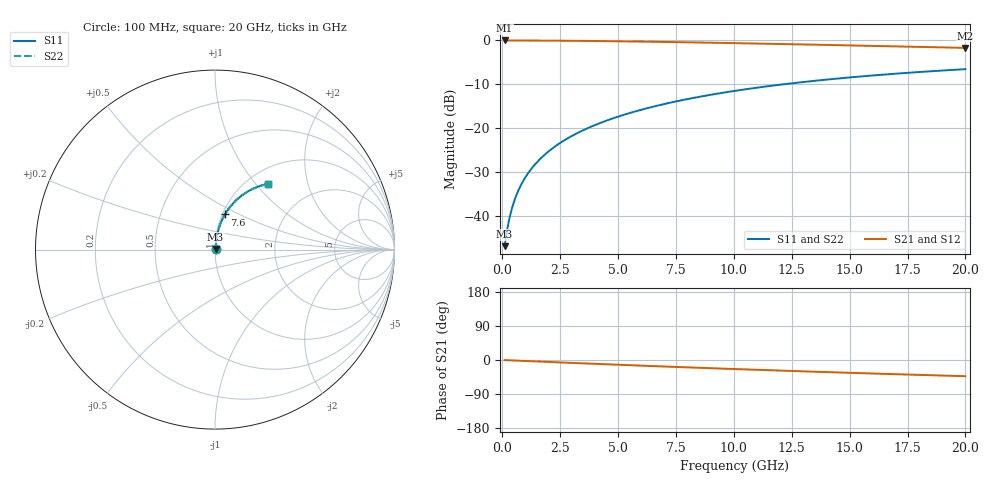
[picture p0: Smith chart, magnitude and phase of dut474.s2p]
! Touchstone file exported from HFSS 2024.1.0
!  File:  C:/UserFiles/LocalFiles/RDL_TSV_Batchsim/temp_RDL_top_474_1779678042.aedt
!  Generated:  11:03:12 AM May 25, 2026
!  Design:  RDL_top
!  Project:  temp_RDL_top_474_1779678042
!  Setup:  Setup1
!  Solution:  Sweep
! Variables:
!  dtsv = 10.80580581um
!  hbump = 3um
!  htsv = 55.26um
!  ldown = 100um
!  lrdl = 545.14um
!  p = 40
!  p1 = 56um
!  rhole = 1um
!  t = 450um
!  tdown = 3.915915916um
!  trdl = 3.78um
!  wdown = 15.38538539um
!  wrdl = 14.97um
# GHz S MA R 50.000000
! Terminal data exported
! Port[1] = Box2_T1
! Port[2] = Box2_T2
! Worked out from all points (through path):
!   200 points, 100 MHz to 20 GHz, reference 50 ohm
!   highest |S21| = -0.03 dB at 100 MHz (marker M1); lowest = -1.7 dB at 20 GHz (marker M2)
!   group delay of S21, straight-line fit = 5.92 ps
!   lowest |S11| = -46.9 dB at 100 MHz (marker M3), VSWR 1.01, Z = 50.4 + j0.284 ohm
!   |S11| at or under -10 dB: start of sweep to 12.18 GHz
!   |S22| runs from -46.9 to -6.6 dB; largest |S21 - S12| = 3.4e-15
!   S11 on the Smith chart (normalised r, x): 100 MHz: 1.01, +0.01; 7.6 GHz: 1.03, +0.42; 20 GHz: 1.23, +1.16
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0.1  0.004506 38.7  0.9965 -0.3  0.9965 -0.3  0.004506 38.7
! Gamma 0 0 0 0
! Port Impedance 50 0 50 0
0.2  0.006668 57.2  0.9964 -0.5  0.9964 -0.5  0.006668 57.2
0.3  0.009152 65.8  0.9962 -0.8  0.9962 -0.8  0.009152 65.8
0.4  0.01173 70.6  0.9961 -1.0  0.9961 -1.0  0.01173 70.6
0.5  0.01433 73.6  0.9959 -1.3  0.9959 -1.3  0.01433 73.6
0.6  0.01695 75.7  0.9958 -1.6  0.9958 -1.6  0.01695 75.7
0.8  0.02222 78.3  0.9954 -2.1  0.9954 -2.1  0.02222 78.3
1.1  0.03017 80.3  0.9948 -2.8  0.9948 -2.8  0.03017 80.3
1.5  0.04085 81.5  0.9938 -3.9  0.9938 -3.9  0.04085 81.5
1.8  0.04888 81.9  0.9929 -4.6  0.9929 -4.6  0.04888 81.9
2.1  0.05693 82.0  0.9919 -5.4  0.9919 -5.4  0.05693 82.0
2.7  0.07307 81.8  0.9894 -6.9  0.9894 -6.9  0.07307 81.8
3.5  0.09462 81.0  0.9852 -8.9  0.9852 -8.9  0.09462 81.0
4.2  0.1135 80.1  0.9809 -10.6  0.9809 -10.6  0.1135 80.1
5  0.1349 78.9  0.9752 -12.5  0.9752 -12.5  0.1349 78.9
5.9  0.159 77.3  0.9682 -14.7  0.9682 -14.7  0.159 77.3
6.8  0.1828 75.7  0.9605 -16.7  0.9605 -16.7  0.1828 75.7
7.6  0.2037 74.2  0.9532 -18.6  0.9532 -18.6  0.2037 74.2
10.1  0.2669 69.4  0.9286 -24.0  0.9286 -24.0  0.2669 69.4
13.4  0.3436 63.0  0.8932 -30.8  0.8932 -30.8  0.3436 63.0
16.7  0.4112 56.9  0.8565 -37.0  0.8565 -37.0  0.4112 56.9
20  0.4693 51.3  0.8199 -42.7  0.8199 -42.7  0.4693 51.3
